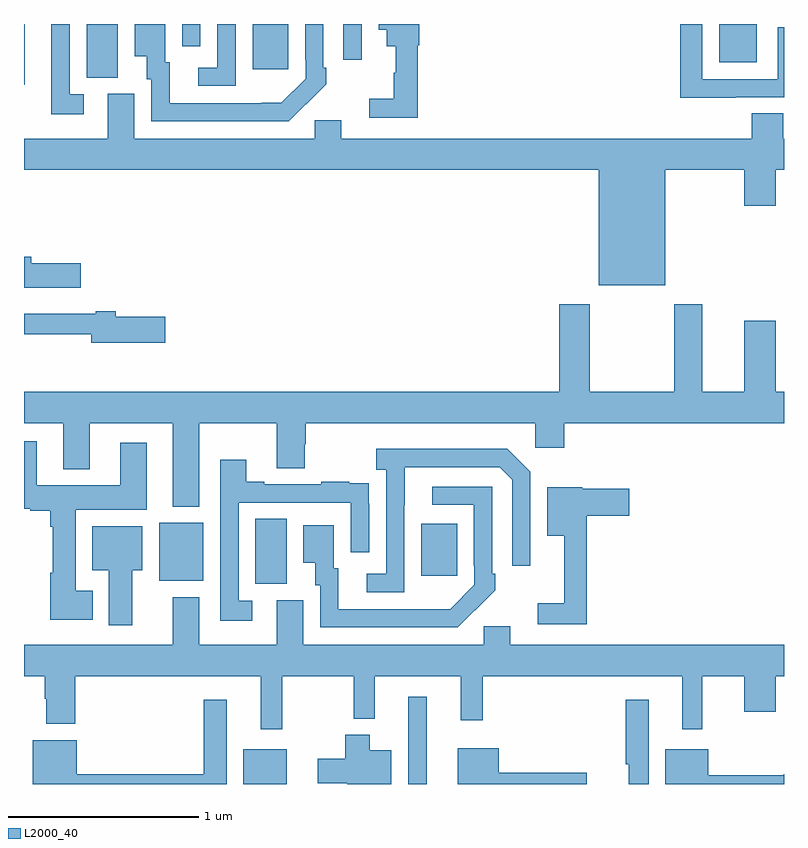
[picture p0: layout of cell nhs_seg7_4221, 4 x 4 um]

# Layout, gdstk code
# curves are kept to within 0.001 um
import gdstk
lib = gdstk.Library(unit=1e-6, precision=1e-09)
def R(c, l, rs):  # rectangles x0, y0, x1, y1
    for r in rs: c.add(gdstk.rectangle(r[:2], r[2:], *l))
def P(c, l, *ps):  # polygons
    for p in ps: c.add(gdstk.Polygon(p, *l))
L2000_40 = (2000, 40)

nhs_seg7_4221 = lib.new_cell('nhs_seg7_4221')
R(nhs_seg7_4221, L2000_40, [(378.155,1048,378.382,1048.183), (379.023,1048,379.12,1048.459), (378.218,1049.053,378.382,1049.396), (377.711,1049.069,377.944,1049.374), (379.091,1049.097,379.279,1049.371), (377,1051.679,377.005,1052), (377.33,1051.717,377.494,1052), (378.203,1051.761,378.391,1052), (380.66,1051.799,380.857,1052), (378.681,1051.812,378.777,1052), (377.832,1051.884,377.928,1052)])
P(nhs_seg7_4221, L2000_40, [(380.747,1051.614),(381,1051.614),(381,1051.984),(380.967,1051.984),(380.967,1051.71),(380.571,1051.71),(380.571,1052),(380.455,1052),(380.455,1051.613),(380.747,1051.613)],
  [(379.073,1051.887),(379.079,1051.887),(379.079,1052),(378.866,1052),(378.866,1051.97),(378.908,1051.97),(378.908,1051.883),(378.956,1051.883),(378.956,1051.743),(378.945,1051.743),(378.945,1051.607),(378.816,1051.607),(378.816,1051.506),(379.073,1051.506)],
  [(378.485,1051.579),(378.486,1051.578),(378.591,1051.683),(378.591,1051.771),(378.576,1051.771),(378.576,1052),(378.48,1052),(378.48,1051.813),(378.483,1051.813),(378.483,1051.713),(378.355,1051.585),(378.251,1051.584),(377.767,1051.584),(377.767,1051.8),(377.743,1051.8),(377.743,1052),(377.582,1052),(377.582,1051.829),(377.645,1051.829),(377.645,1051.71),(377.67,1051.71),(377.67,1051.488),(378.394,1051.488)],
  [(378.114,1052),(378.018,1052),(378.018,1051.77),(377.916,1051.77),(377.916,1051.674),(378.114,1051.674)],
  [(377.314,1051.629),(377.241,1051.629),(377.241,1052),(377.144,1052),(377.144,1051.524),(377.314,1051.524)],
  [(380.024,1050.626),(380.374,1050.626),(380.374,1051.232),(380.792,1051.232),(380.792,1051.044),(380.956,1051.044),(380.956,1051.232),(381,1051.232),(381,1051.396),(380.996,1051.396),(380.996,1051.529),(380.831,1051.529),(380.831,1051.396),(378.67,1051.396),(378.67,1051.494),(378.531,1051.494),(378.531,1051.396),(377.581,1051.396),(377.581,1051.632),(377.441,1051.632),(377.441,1051.396),(377,1051.396),(377,1051.232),(380.024,1051.232)],
  [(377.299,1050.741),(377.038,1050.741),(377.038,1050.775),(377,1050.775),(377,1050.611),(377.299,1050.611)],
  [(377.923,1049.9),(378.329,1049.9),(378.329,1049.662),(378.477,1049.662),(378.477,1049.787),(378.482,1049.787),(378.482,1049.9),(379.692,1049.9),(379.692,1049.769),(379.844,1049.769),(379.844,1049.9),(381,1049.9),(381,1050.064),(380.956,1050.064),(380.956,1050.439),(380.792,1050.439),(380.792,1050.064),(380.569,1050.064),(380.569,1050.526),(380.422,1050.526),(380.422,1050.064),(379.977,1050.064),(379.977,1050.526),(379.817,1050.526),(379.817,1050.064),(377,1050.064),(377,1049.9),(377.207,1049.9),(377.207,1049.657),(377.347,1049.657),(377.347,1049.9),(377.783,1049.9),(377.783,1049.459),(377.923,1049.459)],
  [(377.743,1050.458),(377.482,1050.458),(377.482,1050.487),(377.378,1050.487),(377.378,1050.475),(377,1050.475),(377,1050.366),(377.354,1050.366),(377.354,1050.323),(377.743,1050.323)],
  [(377.362,1049.017),(377.272,1049.017),(377.272,1049.444),(377.647,1049.444),(377.647,1049.797),(377.507,1049.797),(377.507,1049.572),(377.068,1049.572),(377.068,1049.803),(377,1049.803),(377,1049.45),(377.034,1049.45),(377.034,1049.438),(377.138,1049.438),(377.138,1049.354),(377.15,1049.354),(377.15,1049.113),(377.138,1049.113),(377.138,1048.865),(377.362,1048.865)],
  [(379.002,1049.467),(379.003,1049.667),(379.503,1049.667),(379.569,1049.601),(379.569,1049.148),(379.665,1049.148),(379.665,1049.643),(379.544,1049.764),(378.855,1049.764),(378.855,1049.654),(378.906,1049.654),(378.906,1049.106),(378.804,1049.106),(378.804,1049.01),(379.002,1049.01)],
  [(378.202,1048.965),(378.129,1048.965),(378.129,1049.481),(378.72,1049.481),(378.72,1049.22),(378.816,1049.22),(378.816,1049.474),(378.815,1049.474),(378.815,1049.583),(378.713,1049.583),(378.713,1049.59),(378.565,1049.59),(378.565,1049.577),(378.265,1049.577),(378.265,1049.59),(378.169,1049.59),(378.169,1049.707),(378.033,1049.707),(378.033,1048.86),(378.202,1048.86)],
  [(379.373,1048.915),(379.374,1048.914),(379.479,1049.019),(379.479,1049.107),(379.464,1049.107),(379.464,1049.565),(379.149,1049.565),(379.149,1049.469),(379.368,1049.469),(379.368,1049.149),(379.371,1049.149),(379.371,1049.049),(379.243,1048.921),(378.655,1048.92),(378.655,1049.136),(378.631,1049.136),(378.631,1049.362),(378.47,1049.362),(378.47,1049.165),(378.533,1049.165),(378.533,1049.046),(378.558,1049.046),(378.558,1048.824),(379.282,1048.824)],
  [(379.961,1049.411),(380.185,1049.411),(380.185,1049.553),(379.938,1049.553),(379.938,1049.563),(379.754,1049.563),(379.754,1049.306),(379.844,1049.306),(379.844,1048.951),(379.704,1048.951),(379.704,1048.842),(379.961,1048.842)],
  [(377.569,1049.126),(377.623,1049.126),(377.623,1049.356),(377.36,1049.356),(377.36,1049.126),(377.447,1049.126),(377.447,1048.836),(377.569,1048.836)],
  [(378.359,1048.568),(378.735,1048.568),(378.735,1048.343),(378.845,1048.343),(378.845,1048.568),(379.298,1048.568),(379.298,1048.335),(379.415,1048.335),(379.415,1048.568),(380.465,1048.568),(380.465,1048.287),(380.569,1048.287),(380.569,1048.568),(380.792,1048.568),(380.792,1048.38),(380.956,1048.38),(380.956,1048.568),(381,1048.568),(381,1048.732),(379.558,1048.732),(379.558,1048.83),(379.419,1048.83),(379.419,1048.732),(378.469,1048.732),(378.469,1048.968),(378.329,1048.968),(378.329,1048.732),(377.923,1048.732),(377.923,1048.984),(377.783,1048.984),(377.783,1048.732),(377,1048.732),(377,1048.568),(377.11,1048.568),(377.11,1048.448),(377.117,1048.448),(377.117,1048.316),(377.27,1048.316),(377.27,1048.568),(378.245,1048.568),(378.245,1048.287),(378.359,1048.287)],
  [(378.067,1048.444),(377.946,1048.444),(377.946,1048.052),(377.278,1048.052),(377.278,1048.231),(377.045,1048.231),(377.045,1048),(378.067,1048)],
  [(380.287,1048.444),(380.166,1048.444),(380.166,1048.103),(380.183,1048.103),(380.183,1048),(380.287,1048)],
  [(378.934,1048.177),(378.82,1048.177),(378.82,1048.258),(378.691,1048.258),(378.691,1048.134),(378.546,1048.134),(378.546,1048.004),(378.702,1048.004),(378.702,1048),(378.934,1048)],
  [(379.963,1048.058),(379.498,1048.058),(379.498,1048.189),(379.283,1048.189),(379.283,1048),(379.963,1048)],
  [(381,1048.052),(380.998,1048.052),(380.998,1048.045),(380.602,1048.045),(380.602,1048.183),(380.375,1048.183),(380.375,1048),(381,1048)])

lib.write_gds('nhs_seg7_4221.gds')
